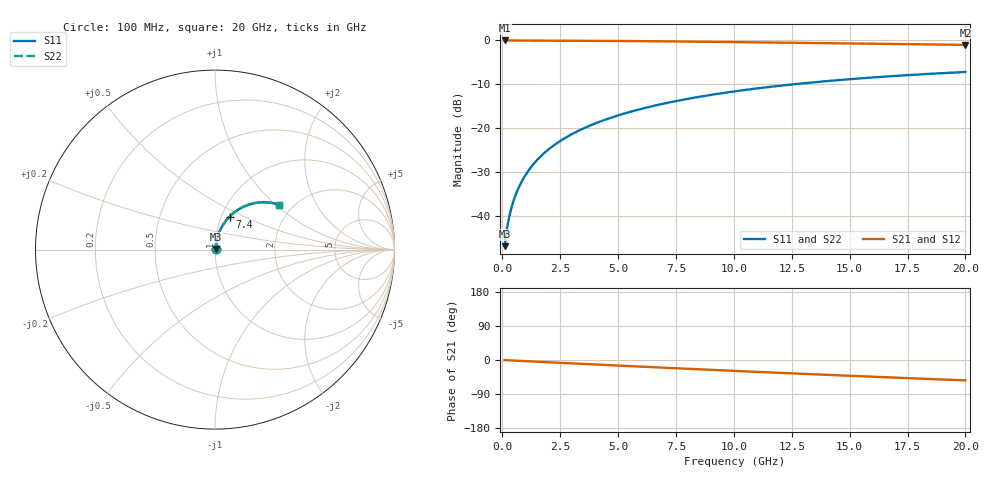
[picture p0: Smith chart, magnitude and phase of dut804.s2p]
! Touchstone file exported from HFSS 2026.1.0
!  File:  C:/ffzhzh/LocalFiles/Ansys_Project_Files/temp_train_TMRDL_804_1783156171_51560.aedt
!  Generated:  05:11:02 PM Jul  4, 2026
!  Design:  TMRDL
!  Project:  temp_train_TMRDL_804_1783156171_51560
! Variables:
!  h_bsmrdl = 2um
!  h_ox = 20um
!  h_rdl = 5um
!  h_sub = 80um
!  h_tmrdl = 3.57um
!  h_tsv = 80um
!  h_via = 3um
!  l_bsmrdl = 300um
!  l_sub = 1229.65um
!  l_tmrdl = 829.65um
!  m_sub = 200um
!  pitch = 54.79um
!  r_tsv = 6um
!  s_tmrdl = 10um
!  w_bsmrdl = 18um
!  w_sub = 500um
!  w_tmrdl = 27.1um
!  x_tsv_center1 = 843.2um
!  x_tsv_center2 = 1161.2um
!  x_tsv_center3 = 2017.95um
!  x_tsv_center4 = 2335.95um
!  x_tsv_center5 = 3192.7um
!  x_tsv_center6 = 3510.7um
# GHz S MA R 50.000000
! Terminal data exported
! Port[1] = TM_RDL1_1_T1
! Port[2] = TM_RDL1_1_T2
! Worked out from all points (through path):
!   200 points, 100 MHz to 20 GHz, reference 50 ohm
!   highest |S21| = -0.03 dB at 100 MHz (marker M1); lowest = -1.0 dB at 20 GHz (marker M2)
!   group delay of S21, straight-line fit = 7.48 ps
!   lowest |S11| = -46.8 dB at 100 MHz (marker M3), VSWR 1.01, Z = 50.3 + j0.321 ohm
!   |S11| at or under -10 dB: start of sweep to 12.56 GHz
!   |S22| runs from -46.8 to -7.2 dB; largest |S21 - S12| = 8.8e-15
!   S11 on the Smith chart (normalised r, x): 100 MHz: 1.01, +0.01; 7.4 GHz: 1.09, +0.42; 20 GHz: 1.71, +1.05
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0.1  0.004582 44.0  0.9967 -0.3  0.9967 -0.3  0.004582 44.0
! Gamma 0 0 0 0
! Port Impedance 50 0 50 0
0.2  0.007174 60.2  0.9965 -0.6  0.9965 -0.6  0.007174 60.2
0.3  0.009915 67.1  0.9962 -0.9  0.9962 -0.9  0.009915 67.1
0.4  0.01267 71.0  0.9961 -1.2  0.9961 -1.2  0.01267 71.0
0.5  0.01542 73.5  0.9959 -1.5  0.9959 -1.5  0.01542 73.5
0.6  0.0182 75.2  0.9958 -1.8  0.9958 -1.8  0.0182 75.3
0.8  0.02378 77.4  0.9955 -2.4  0.9955 -2.4  0.02378 77.4
1.1  0.03223 79.0  0.9952 -3.3  0.9952 -3.3  0.03223 79.0
1.5  0.04356 79.6  0.9946 -4.5  0.9946 -4.5  0.04356 79.6
1.8  0.05205 79.5  0.994 -5.4  0.994 -5.4  0.05205 79.6
2.1  0.06053 79.2  0.9934 -6.3  0.9934 -6.3  0.06053 79.3
2.7  0.07739 78.2  0.992 -8.0  0.992 -8.0  0.07739 78.2
3.5  0.09961 76.4  0.9895 -10.4  0.9895 -10.4  0.09961 76.5
4.2  0.1187 74.7  0.9869 -12.4  0.9869 -12.4  0.1187 74.7
5  0.1402 72.6  0.9836 -14.7  0.9836 -14.7  0.1402 72.6
6.8  0.1867 67.8  0.9747 -19.8  0.9747 -19.8  0.1867 67.8
7.4  0.2016 66.1  0.9714 -21.5  0.9714 -21.5  0.2016 66.2
8.7  0.2328 62.7  0.9637 -25.1  0.9637 -25.1  0.2328 62.7
10.1  0.2647 59.0  0.9548 -28.9  0.9548 -28.9  0.2647 59.1
13.4  0.3326 50.5  0.9325 -37.6  0.9325 -37.6  0.3326 50.6
16.7  0.3899 42.4  0.9096 -45.9  0.9096 -45.9  0.3899 42.6
20  0.4367 34.7  0.8881 -53.8  0.8881 -53.8  0.4367 34.9
